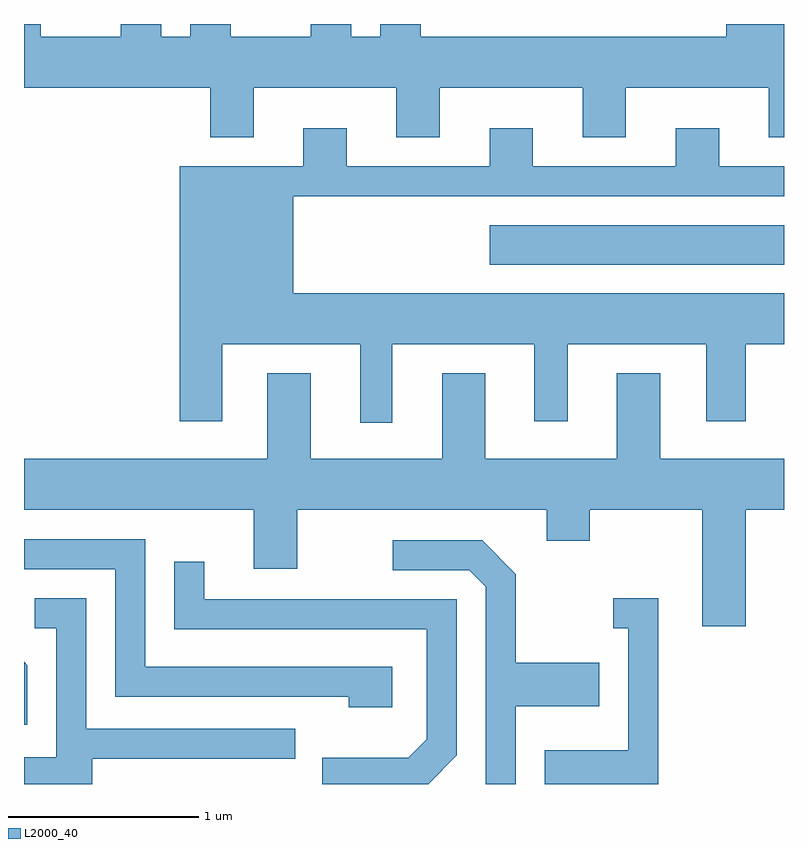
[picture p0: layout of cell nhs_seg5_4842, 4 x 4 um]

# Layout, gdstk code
import gdstk
lib = gdstk.Library(unit=1e-6, precision=1e-09)
def R(c, l, rs):  # rectangles x0, y0, x1, y1
    for r in rs: c.add(gdstk.rectangle(r[:2], r[2:], *l))
def P(c, l, *ps):  # polygons
    for p in ps: c.add(gdstk.Polygon(p, *l))
L2000_40 = (2000, 40)

nhs_seg5_4842 = lib.new_cell('nhs_seg5_4842')
R(nhs_seg5_4842, L2000_40, [(332.061,1404.806,333.611,1405.014)])
P(nhs_seg5_4842, L2000_40, [(330.819,1405.736),(331.571,1405.736),(331.571,1405.476),(331.799,1405.476),(331.799,1405.736),(332.551,1405.736),(332.551,1405.476),(332.779,1405.476),(332.779,1405.736),(333.531,1405.736),(333.531,1405.476),(333.611,1405.476),(333.611,1406.072),(333.306,1406.072),(333.306,1406.004),(331.699,1406.004),(331.699,1406.072),(331.486,1406.072),(331.486,1406.004),(331.334,1406.004),(331.334,1406.072),(331.121,1406.072),(331.121,1406.004),(330.699,1406.004),(330.699,1406.072),(330.486,1406.072),(330.486,1406.004),(330.334,1406.004),(330.334,1406.072),(330.121,1406.072),(330.121,1406.004),(329.699,1406.004),(329.699,1406.072),(329.611,1406.072),(329.611,1405.736),(330.591,1405.736),(330.591,1405.476),(330.819,1405.476)],
  [(331.549,1404.386),(332.296,1404.386),(332.296,1403.981),(332.474,1403.981),(332.474,1404.386),(333.201,1404.386),(333.201,1403.981),(333.409,1403.981),(333.409,1404.386),(333.611,1404.386),(333.611,1404.654),(331.029,1404.654),(331.029,1405.166),(333.611,1405.166),(333.611,1405.324),(333.269,1405.324),(333.269,1405.524),(333.041,1405.524),(333.041,1405.324),(332.289,1405.324),(332.289,1405.524),(332.061,1405.524),(332.061,1405.324),(331.309,1405.324),(331.309,1405.524),(331.081,1405.524),(331.081,1405.324),(330.431,1405.324),(330.431,1403.981),(330.654,1403.981),(330.654,1404.386),(331.381,1404.386),(331.381,1403.973),(331.549,1403.973)],
  [(333.409,1403.516),(333.611,1403.516),(333.611,1403.784),(332.959,1403.784),(332.959,1404.234),(332.731,1404.234),(332.731,1403.784),(332.039,1403.784),(332.039,1404.234),(331.811,1404.234),(331.811,1403.784),(331.119,1403.784),(331.119,1404.234),(330.891,1404.234),(330.891,1403.784),(329.611,1403.784),(329.611,1403.516),(330.821,1403.516),(330.821,1403.206),(331.049,1403.206),(331.049,1403.516),(332.361,1403.516),(332.361,1403.351),(332.589,1403.351),(332.589,1403.516),(333.181,1403.516),(333.181,1402.901),(333.409,1402.901)],
  [(331.549,1402.689),(330.249,1402.689),(330.249,1403.359),(329.611,1403.359),(329.611,1403.201),(330.091,1403.201),(330.091,1402.531),(331.321,1402.531),(331.321,1402.476),(331.549,1402.476)],
  [(332.199,1402.481),(332.639,1402.481),(332.639,1402.709),(332.199,1402.709),(332.199,1403.177),(332.022,1403.354),(331.553,1403.354),(331.553,1403.196),(331.954,1403.196),(332.041,1403.109),(332.041,1402.072),(332.199,1402.072)],
  [(331.889,1402.224),(331.889,1403.044),(330.559,1403.044),(330.559,1403.243),(330.401,1403.243),(330.401,1402.886),(331.731,1402.886),(331.731,1402.307),(331.634,1402.209),(331.181,1402.209),(331.181,1402.072),(331.738,1402.072)],
  [(332.949,1403.049),(332.713,1403.049),(332.713,1402.891),(332.791,1402.891),(332.791,1402.249),(332.351,1402.249),(332.351,1402.072),(332.949,1402.072)],
  [(329.969,1402.206),(331.038,1402.206),(331.038,1402.364),(329.939,1402.364),(329.939,1403.049),(329.668,1403.049),(329.668,1402.891),(329.781,1402.891),(329.781,1402.214),(329.611,1402.214),(329.611,1402.072),(329.969,1402.072)],
  [(329.629,1402.697),(329.611,1402.715),(329.611,1402.383),(329.629,1402.383)])

lib.write_gds('nhs_seg5_4842.gds')
